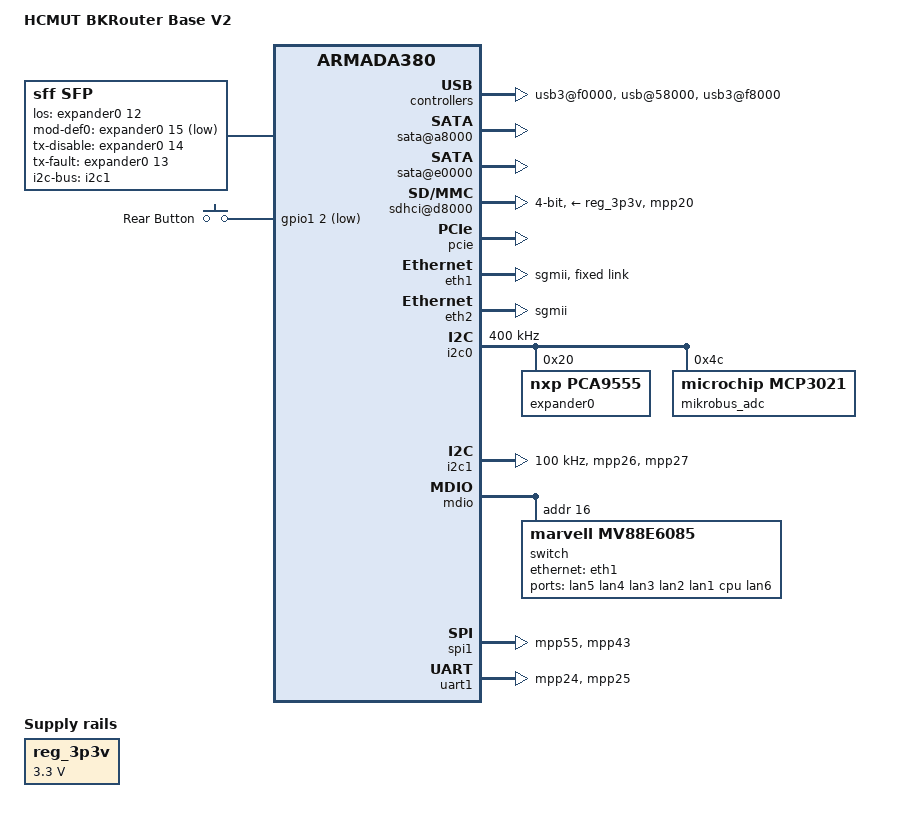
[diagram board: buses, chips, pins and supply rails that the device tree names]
/*
 * Device Tree file for HCMUT BKROUTER 
 * Author: Nguyen Phan Hai Phu (USAMI)
 * HCMUT PTN209B3
 */

/dts-v1/;
#include "armada-388.dtsi"
#include "armada-38x-solidrun-microsom.dtsi"

/ {
	model = "HCMUT BKRouter Base V2";
	compatible = "hcmut,bkrouter-base-v2", "marvell,armada388",
		"marvell,armada385", "marvell,armada380";

	aliases {
		/* So that mvebu u-boot can update the MAC addresses */
		ethernet1 = &eth0;
		ethernet2 = &eth1;
		ethernet3 = &eth2;
	};

	chosen {
		stdout-path = "serial0:115200n8";
	};

	reg_3p3v: regulator-3p3v {
		compatible = "regulator-fixed";
		regulator-name = "3P3V";
		regulator-min-microvolt = <3300000>;
		regulator-max-microvolt = <3300000>;
		regulator-always-on;
	};

	soc {
		internal-regs {
			usb3@f0000 {
				/* CON2, nearest CPU, USB2 only. */
				status = "okay";
			};
			sata@a8000 {
				/* pinctrl? */
				status = "okay";
			};

			sata@e0000 {
				/* pinctrl? */
				status = "okay";
			};

			sdhci@d8000 {
				bus-width = <4>;
				no-1-8-v;
				pinctrl-0 = <&microsom_sdhci_pins
					     &bkrouter_sdhci_cd_pins>;
				pinctrl-names = "default";
				status = "okay";
				vmmc-supply = <&reg_3p3v>;
				wp-inverted;
			};

			usb@58000 {
				/* CON3, nearest  power. */
				status = "okay";
			};

			usb3@f8000 {
				/* CON7 */
				status = "okay";
			};
		};

		pcie {
			status = "okay";
			/*
			 * The two PCIe units are accessible through
			 * the mini-PCIe connectors on the board.
			 */
            pcie@1,0 {
                /* Port 0, Lane 0. */
                status = "okay";
            };
			pcie@2,0 {
				/* Port 1, Lane 0. CON3, nearest power. */
				reset-gpios = <&expander0 1 GPIO_ACTIVE_LOW>;
				status = "okay";
			};
			pcie@3,0 {
				/* Port 2, Lane 0. CON2, nearest CPU. */
				reset-gpios = <&expander0 2 GPIO_ACTIVE_LOW>;
				status = "okay";
			};
		};
	};

	sfp: sfp {
		compatible = "sff,sfp";
		i2c-bus = <&i2c1>;
		los-gpio = <&expander0 12 GPIO_ACTIVE_HIGH>;
		mod-def0-gpio = <&expander0 15 GPIO_ACTIVE_LOW>;
		tx-disable-gpio = <&expander0 14 GPIO_ACTIVE_HIGH>;
		tx-fault-gpio = <&expander0 13 GPIO_ACTIVE_HIGH>;
	};
	
	
	mvsw61xx {
		#address-cells = <1>;
		#size-cells = <0>;
		compatible = "marvell,88e6176";
		status = "okay";
		reg = <0x10>;
		is-indirect;

		mii-bus = <&mdio>;
		cpu-port-0 = <5>;
	};

	gpio-keys {
		compatible = "gpio-keys";
		pinctrl-0 = <&rear_button_pins>;
		pinctrl-names = "default";

		button_0 {
			/* The rear SW3 button */
			label = "Rear Button";
			gpios = <&gpio1 2 GPIO_ACTIVE_LOW>;
			linux,can-disable;
			linux,code = <BTN_0>;
		};
	};
};

&eth1 {
	/* ethernet@30000 */
	bm,pool-long = <2>;
	bm,pool-short = <1>;
	buffer-manager = <&bm>;
	phy-mode = "sgmii";
	status = "okay";
	fixed-link {
		speed = <1000>;
		full-duplex;
	};
};

&eth2 {
	/* ethernet@34000 */
	bm,pool-long = <3>;
	bm,pool-short = <1>;
	buffer-manager = <&bm>;
	managed = "in-band-status";
	phy-mode = "sgmii";
	sfp = <&sfp>;
	status = "okay";
};

&i2c0 {
	clock-frequency = <400000>;
	pinctrl-0 = <&i2c0_pins>;
	pinctrl-names = "default";
	status = "okay";

	/*
	 * PCA9655 GPIO expander, up to 1MHz clock.
	 *  0-CON3 CLKREQ#
	 *  1-CON3 PERST#
	 *  2-
	 *  3-CON3 W_DISABLE
	 *  4-
	 *  5-USB3 overcurrent
	 *  6-USB3 power
	 *  7-
	 *  8-JP4 P1
	 *  9-JP4 P4
	 * 10-JP4 P5
	 * 11-m.2 DEVSLP
	 * 12-SFP_LOS
	 * 13-SFP_TX_FAULT
	 * 14-SFP_TX_DISABLE
	 * 15-SFP_MOD_DEF0
	 */
	expander0: gpio-expander@20 {
		/*
		 * This is how it should be:
		 * compatible = "onnn,pca9655", "nxp,pca9555";
		 * but you can't do this because of the way I2C works.
		 */
		compatible = "nxp,pca9555";
		gpio-controller;
		#gpio-cells = <2>;
		reg = <0x20>;

		pcie1_0_clkreq {
			gpio-hog;
			gpios = <0 GPIO_ACTIVE_LOW>;
			input;
			line-name = "pcie1.0-clkreq";
		};
		pcie1_0_w_disable {
			gpio-hog;
			gpios = <3 GPIO_ACTIVE_LOW>;
			output-low;
			line-name = "pcie1.0-w-disable";
		};
		usb3_ilimit {
			gpio-hog;
			gpios = <5 GPIO_ACTIVE_LOW>;
			input;
			line-name = "usb3-current-limit";
		};
		usb3_power {
			gpio-hog;
			gpios = <6 GPIO_ACTIVE_HIGH>;
			output-high;
			line-name = "usb3-power";
		};
		m2_devslp {
			gpio-hog;
			gpios = <11 GPIO_ACTIVE_HIGH>;
			output-low;
			line-name = "m.2 devslp";
		};
	};

	/* The MCP3021 supports standard and fast modes */
	mikrobus_adc: mcp3021@4c {
		compatible = "microchip,mcp3021";
		reg = <0x4c>;
	};
};

&i2c1 {
	/*
	 * Routed to SFP, mikrobus, and PCIe.
	 * SFP limits this to 100kHz, and requires an AT24C01A/02/04 with
	 *  address pins tied low, which takes addresses 0x50 and 0x51.
	 * Mikrobus doesn't specify beyond an I2C bus being present.
	 * PCIe uses ARP to assign addresses, or 0x63-0x64.
	 */
	clock-frequency = <100000>;
	pinctrl-0 = <&bkrouter_i2c1_pins>;
	pinctrl-names = "default";
	status = "okay";
};

&expander0 {
	/*
	 * PCA9655 GPIO expander:
	 *  0-CON3 CLKREQ#
	 *  1-CON3 PERST#
	 *  2-CON2 PERST#
	 *  3-CON3 W_DISABLE
	 *  4-CON2 CLKREQ#
	 *  5-USB3 overcurrent
	 *  6-USB3 power
	 *  7-CON2 W_DISABLE
	 *  8-JP4 P1
	 *  9-JP4 P4
	 * 10-JP4 P5
	 * 11-m.2 DEVSLP
	 * 12-SFP_LOS
	 * 13-SFP_TX_FAULT
	 * 14-SFP_TX_DISABLE
	 * 15-SFP_MOD_DEF0
	 */
	pcie2_0_clkreq {
		gpio-hog;
		gpios = <4 GPIO_ACTIVE_LOW>;
		input;
		line-name = "pcie2.0-clkreq";
	};
	pcie2_0_w_disable {
		gpio-hog;
		gpios = <7 GPIO_ACTIVE_LOW>;
		output-low;
		line-name = "pcie2.0-w-disable";
	};
};

&mdio {
	status = "okay";

	switch@10 {
		status = "okay";
		compatible = "marvell,mv88e6085";
		#address-cells = <1>;
		#size-cells = <0>;
		reg = <0x10>;
		pinctrl-0 = <&bkrouter_dsa0_clk_pins &bkrouter_dsa0_pins>;
		pinctrl-names = "default";

		ports {
			#address-cells = <1>;
			#size-cells = <0>;

			port@0 {
				reg = <0>;
				label = "lan5";
			};

			port@1 {
				reg = <1>;
				label = "lan4";
			};

			port@2 {
				reg = <2>;
				label = "lan3";
			};

			port@3 {
				reg = <3>;
				label = "lan2";
			};

			port@4 {
				reg = <4>;
				label = "lan1";
			};

			port@5 {
				reg = <5>;
				label = "cpu";
				ethernet = <&eth1>;
				fixed-link {
					speed = <1000>;
					full-duplex;
				};
			};

			port@6 {
				/* 88E1512 external phy */
				reg = <6>;
				label = "lan6";
				fixed-link {
					speed = <1000>;
					full-duplex;
				};
			};
		};
	};
};

&pinctrl {
	bkrouter_i2c1_pins: i2c1-pins {
		/* SFP, PCIe, mSATA, mikrobus */
		marvell,pins = "mpp26", "mpp27";
		marvell,function = "i2c1";
	};
	bkrouter_sdhci_cd_pins: bkrouter-sdhci-cd-pins {
		marvell,pins = "mpp20";
		marvell,function = "gpio";
	};
	mikro_pins: mikro-pins {
		/* int: mpp22 rst: mpp29 */
		marvell,pins = "mpp22", "mpp29";
		marvell,function = "gpio";
	};
	mikro_spi_pins: mikro-spi-pins {
		marvell,pins = "mpp43";
		marvell,function = "spi1";
	};
	mikro_uart_pins: mikro-uart-pins {
		marvell,pins = "mpp24", "mpp25";
		marvell,function = "ua1";
	};
	bkrouter_dsa0_clk_pins: bkrouter-dsa0-clk-pins {
		marvell,pins = "mpp46";
		marvell,function = "ref";
	};
	bkrouter_dsa0_pins: bkrouter-dsa0-pins {
		marvell,pins = "mpp23", "mpp41";
		marvell,function = "gpio";
	};
	bkrouter_spi1_cs_pins: spi1-cs-pins {
		marvell,pins = "mpp55";
		marvell,function = "spi1";
	};
	rear_button_pins: rear-button-pins {
		marvell,pins = "mpp34";
		marvell,function = "gpio";
	};
};

&spi1 {
	/*
	 * Add SPI CS pins for bkrouter:
	 * CS0: W25Q32
	 * CS1: PIC microcontroller (Pro models)
	 * CS2: mikrobus
	 */
	pinctrl-names = "default";
	status = "okay";
	pinctrl-0 = <&spi1_pins &bkrouter_spi1_cs_pins &mikro_spi_pins>;
};

&uart1 {
	/* mikrobus uart */
	pinctrl-0 = <&mikro_uart_pins>;
	pinctrl-names = "default";
	status = "okay";
};

/*
+#define A38x_CUSTOMER_BOARD_1_MPP16_23         0x00400011
MPP18: gpio		? (pca9655 int?)
MPP19: gpio		? (clkreq?)
MPP20: gpio		? (sd0 detect)
MPP21: sd0:cmd		x sd0
MPP22: gpio		x mikro int
MPP23: gpio		x switch irq
+#define A38x_CUSTOMER_BOARD_1_MPP24_31         0x22043333
MPP24: ua1:rxd		x mikro rx
MPP25: ua1:txd		x mikro tx
MPP26: i2c1:sck		x mikro sck
MPP27: i2c1:sda		x mikro sda
MPP28: sd0:clk		x sd0
MPP29: gpio		x mikro rst
MPP30: ge1:txd2		? (config)
MPP31: ge1:txd3		? (config)
+#define A38x_CUSTOMER_BOARD_1_MPP32_39         0x44400002
MPP32: ge1:txctl	? (unused)
MPP33: gpio		? (pic_com0)
MPP34: gpio		x rear button (pic_com1)
MPP35: gpio		? (pic_com2)
MPP36: gpio		? (unused)
MPP37: sd0:d3		x sd0
MPP38: sd0:d0		x sd0
MPP39: sd0:d1		x sd0
+#define A38x_CUSTOMER_BOARD_1_MPP40_47         0x41144004
MPP40: sd0:d2		x sd0
MPP41: gpio		x switch reset
MPP42: gpio		? sw1-1
MPP43: spi1:cs2		x mikro cs
MPP44: sata3:prsnt	? (unused)
MPP45: ref:clk_out0	?
MPP46: ref:clk_out1	x switch clk
MPP47: 4		? (unused)
+#define A38x_CUSTOMER_BOARD_1_MPP48_55         0x40333333
MPP48: tdm:pclk
MPP49: tdm:fsync
MPP50: tdm:drx
MPP51: tdm:dtx
MPP52: tdm:int
MPP53: tdm:rst
MPP54: gpio		? (pwm)
MPP55: spi1:cs1		x slic
+#define A38x_CUSTOMER_BOARD_1_MPP56_63         0x00004444
MPP56: spi1:mosi	x mikro mosi
MPP57: spi1:sck		x mikro sck
MPP58: spi1:miso	x mikro miso
MPP59: spi1:cs0		x w25q32
*/
